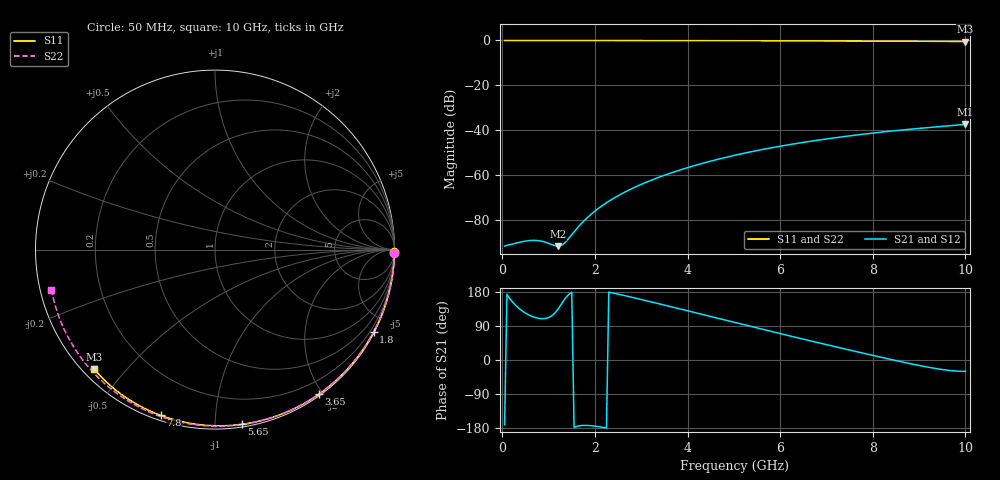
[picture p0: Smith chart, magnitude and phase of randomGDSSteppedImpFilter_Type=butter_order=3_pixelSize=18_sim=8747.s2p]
! freq	dB(S11)	phase(S11)	dB(S12)	phase(S12)
!  dB(S21)	phase(S21)	dB(S22)	phase(S22)
!S-par simulation data
#  GHz  S  DB  R 50
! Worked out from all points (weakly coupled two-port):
!   200 points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, 50 MHz to 10 GHz, reference 50 ohm
!   highest |S21| = -37.40 dB at 10 GHz (marker M1); lowest = -91.7 dB at 1.2 GHz (marker M2)
!   lowest |S11| = -0.5 dB at 10 GHz (marker M3), VSWR 35.54, Z = 1.64 - j20.6 ohm
!   |S11| at or under -10 dB: nowhere
!   |S22| runs from -0.6 to 0.0 dB; largest |S21 - S12| = 0
!   S11 on the Smith chart (normalised r, x): 50 MHz: open; 1.8 GHz: 0.04, -4.10; 3.65 GHz: 0.02, -1.95; 5.65 GHz: 0.02, -1.16; 7.8 GHz: 0.02, -0.72; 10 GHz: 0.03, -0.41
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0.05  -0.00 -0.8  -91.68 -171.2  -91.68 -171.2  -0.00 -1.0
0.6  -0.01 -9.2  -89.17 117.3  -89.17 117.3  -0.01 -11.5
1.2  -0.02 -18.4  -91.69 133.7  -91.69 133.7  -0.03 -22.9
1.75  -0.03 -26.7  -80.70 -172.7  -80.70 -172.7  -0.04 -33.1
1.8  -0.03 -27.4  -79.68 -172.6  -79.68 -172.6  -0.04 -34.1
1.95  -0.04 -29.6  -76.90 -173.8  -76.90 -173.8  -0.05 -36.8
2.1  -0.04 -31.9  -74.48 -176.4  -74.48 -176.4  -0.05 -39.6
2.25  -0.04 -34.1  -72.33 -179.7  -72.33 -179.7  -0.05 -42.3
2.45  -0.05 -37.0  -69.79 175.2  -69.79 175.2  -0.06 -45.9
2.9  -0.06 -43.6  -65.06 162.6  -65.06 162.6  -0.07 -54.0
3.4  -0.07 -50.7  -60.84 147.9  -60.84 147.9  -0.08 -62.8
3.65  -0.07 -54.3  -59.02 140.4  -59.02 140.4  -0.09 -67.1
4.35  -0.09 -64.0  -54.63 119.4  -54.63 119.4  -0.11 -78.9
5.05  -0.11 -73.4  -51.04 98.2  -51.04 98.2  -0.14 -90.4
5.65  -0.13 -81.3  -48.47 80.1  -48.47 80.1  -0.17 -99.9
6.15  -0.15 -87.7  -46.61 65.3  -46.61 65.3  -0.19 -107.7
6.7  -0.18 -94.6  -44.80 49.1  -44.80 49.1  -0.23 -116.2
7.25  -0.21 -101.4  -43.20 33.3  -43.20 33.3  -0.27 -124.5
7.8  -0.25 -108.1  -41.77 17.8  -41.77 17.8  -0.31 -132.8
8.35  -0.29 -114.7  -40.50 2.5  -40.50 2.5  -0.36 -141.1
9.2  -0.37 -124.9  -38.84 -19.1  -38.84 -19.1  -0.45 -153.9
10  -0.49 -135.3  -37.40 -30.0  -37.40 -30.0  -0.56 -166.3
